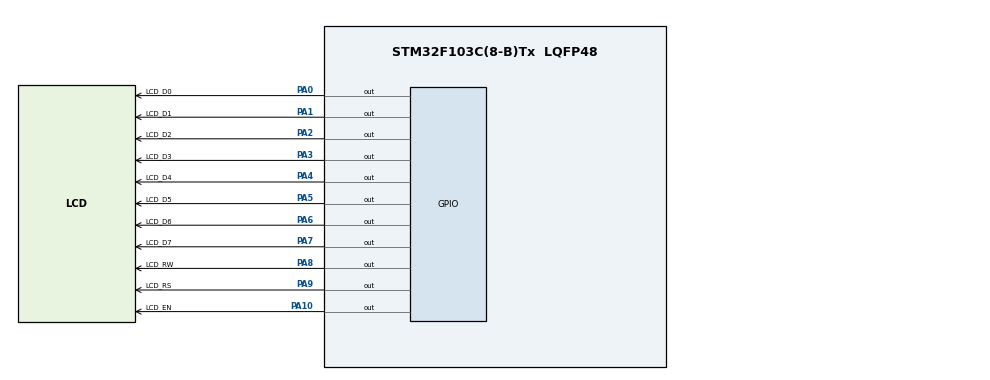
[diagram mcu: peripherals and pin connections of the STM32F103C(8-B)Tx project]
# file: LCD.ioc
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Mcu.Family=STM32F1
Mcu.Name=STM32F103C(8-B)Tx
Mcu.Package=LQFP48
NVIC.PriorityGroup=NVIC_PRIORITYGROUP_4
PA0-WKUP.GPIO_Label=LCD_D0
PA0-WKUP.Signal=GPIO_Output
PA1.GPIO_Label=LCD_D1
PA1.Signal=GPIO_Output
PA10.GPIO_Label=LCD_EN
PA10.Signal=GPIO_Output
PA13.Mode=Serial_Wire
PA13.Signal=SYS_JTMS-SWDIO
PA14.Mode=Serial_Wire
PA14.Signal=SYS_JTCK-SWCLK
PA2.GPIO_Label=LCD_D2
PA2.Signal=GPIO_Output
PA3.GPIO_Label=LCD_D3
PA3.Signal=GPIO_Output
PA4.GPIO_Label=LCD_D4
PA4.Signal=GPIO_Output
PA5.GPIO_Label=LCD_D5
PA5.Signal=GPIO_Output
PA6.GPIO_Label=LCD_D6
PA6.Signal=GPIO_Output
PA7.GPIO_Label=LCD_D7
PA7.Signal=GPIO_Output
PA8.GPIO_Label=LCD_RW
PA8.Signal=GPIO_Output
PA9.GPIO_Label=LCD_RS
PA9.Signal=GPIO_Output
ProjectManager.HeapSize=0x200
ProjectManager.StackSize=0x400
ProjectManager.TargetToolchain=MDK-ARM V5.32
RCC.APB1Freq_Value=8000000
RCC.APB2Freq_Value=8000000
board=custom

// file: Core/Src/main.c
/* USER CODE BEGIN Header */
/**
  ******************************************************************************
  * @file           : main.c
  * @brief          : Main program body
  ******************************************************************************
  * @attention
  *
  * Copyright (c) 2025 STMicroelectronics.
  * All rights reserved.
  *
  * This software is licensed under terms that can be found in the LICENSE file
  * in the root directory of this software component.
  * If no LICENSE file comes with this software, it is provided AS-IS.
  *
  ******************************************************************************
  */
/* USER CODE END Header */
#include "main.h"

/* USER CODE BEGIN Includes */
#include "lcd.h"
/* USER CODE END Includes */

/* USER CODE BEGIN PV */
uint8_t heart[] = {
	0x0A,
	0x1F,
	0x15,
	0x1F,
	0x1F,
	0x0E,
	0x04,
	0x00
};
uint8_t smile[] = {
	0x00,
	0x0A,
	0x00,
	0x00,
	0x11,
	0x0E,
	0x00,
	0x00
};
HardwareInf_t MyLCD;

/* USER CODE END PV */

void SystemClock_Config(void);
static void MX_GPIO_Init(void);

int main(void)
{

  /* MCU Configuration--------------------------------------------------------*/

  /* Reset of all peripherals, Initializes the Flash interface and the Systick. */
  HAL_Init();

  /* Configure the system clock */
  SystemClock_Config();

  /* Initialize all configured peripherals */
  MX_GPIO_Init();
  /* USER CODE BEGIN 2 */
	MyLCD.D0_Port = LCD_D0_GPIO_Port;
	MyLCD.D1_Port = LCD_D1_GPIO_Port;
	MyLCD.D2_Port = LCD_D2_GPIO_Port;
	MyLCD.D3_Port = LCD_D3_GPIO_Port;
	MyLCD.D4_Port = LCD_D4_GPIO_Port;
	MyLCD.D5_Port = LCD_D5_GPIO_Port;
	MyLCD.D6_Port = LCD_D6_GPIO_Port;
	MyLCD.D7_Port = LCD_D7_GPIO_Port;
	MyLCD.EN_Port = LCD_EN_GPIO_Port;
	MyLCD.RS_Port = LCD_RS_GPIO_Port;
	MyLCD.RW_Port = LCD_RW_GPIO_Port;

	MyLCD.D0_Pin = LCD_D0_Pin;
	MyLCD.D1_Pin = LCD_D1_Pin;
	MyLCD.D2_Pin = LCD_D2_Pin;
	MyLCD.D3_Pin = LCD_D3_Pin;
	MyLCD.D4_Pin = LCD_D4_Pin;
	MyLCD.D5_Pin = LCD_D5_Pin;
	MyLCD.D6_Pin = LCD_D6_Pin;
	MyLCD.D7_Pin = LCD_D7_Pin;
	MyLCD.EN_Pin = LCD_EN_Pin;
	MyLCD.RS_Pin = LCD_RS_Pin;
	MyLCD.RW_Pin = LCD_RW_Pin;

	LCD_init(&MyLCD, LCD4bit);
	LCD_CGinit(&MyLCD, heart, 0); // CGRAM
	LCD_gotoXY(&MyLCD, 0, 0);			// DDRAM
	LCD_putchar(&MyLCD, 0);
	LCD_putString(&MyLCD, (uint8_t*)"Phat Luu");
	LCD_putchar(&MyLCD, 0);
  /* USER CODE END 2 */

  /* Infinite loop */
  while (1)
  {

  }
}

void SystemClock_Config(void)
{
  RCC_OscInitTypeDef RCC_OscInitStruct = {0};
  RCC_ClkInitTypeDef RCC_ClkInitStruct = {0};

  /** Initializes the RCC Oscillators according to the specified parameters
  * in the RCC_OscInitTypeDef structure.
  */
  RCC_OscInitStruct.OscillatorType = RCC_OSCILLATORTYPE_HSI;
  RCC_OscInitStruct.HSIState = RCC_HSI_ON;
  RCC_OscInitStruct.HSICalibrationValue = RCC_HSICALIBRATION_DEFAULT;
  RCC_OscInitStruct.PLL.PLLState = RCC_PLL_NONE;
  if (HAL_RCC_OscConfig(&RCC_OscInitStruct) != HAL_OK)
  {
    Error_Handler();
  }

  /** Initializes the CPU, AHB and APB buses clocks
  */
  RCC_ClkInitStruct.ClockType = RCC_CLOCKTYPE_HCLK|RCC_CLOCKTYPE_SYSCLK
                              |RCC_CLOCKTYPE_PCLK1|RCC_CLOCKTYPE_PCLK2;
  RCC_ClkInitStruct.SYSCLKSource = RCC_SYSCLKSOURCE_HSI;
  RCC_ClkInitStruct.AHBCLKDivider = RCC_SYSCLK_DIV1;
  RCC_ClkInitStruct.APB1CLKDivider = RCC_HCLK_DIV1;
  RCC_ClkInitStruct.APB2CLKDivider = RCC_HCLK_DIV1;

  if (HAL_RCC_ClockConfig(&RCC_ClkInitStruct, FLASH_LATENCY_0) != HAL_OK)
  {
    Error_Handler();
  }
}

static void MX_GPIO_Init(void)
{
  GPIO_InitTypeDef GPIO_InitStruct = {0};

  /* GPIO Ports Clock Enable */
  __HAL_RCC_GPIOA_CLK_ENABLE();

  /*Configure GPIO pin Output Level */
  HAL_GPIO_WritePin(GPIOA, LCD_D0_Pin|LCD_D1_Pin|LCD_D2_Pin|LCD_D3_Pin
                          |LCD_D4_Pin|LCD_D5_Pin|LCD_D6_Pin|LCD_D7_Pin
                          |LCD_RW_Pin|LCD_RS_Pin|LCD_EN_Pin, GPIO_PIN_RESET);

  /*Configure GPIO pins : LCD_D0_Pin LCD_D1_Pin LCD_D2_Pin LCD_D3_Pin
                           LCD_D4_Pin LCD_D5_Pin LCD_D6_Pin LCD_D7_Pin
                           LCD_RW_Pin LCD_RS_Pin LCD_EN_Pin */
  GPIO_InitStruct.Pin = LCD_D0_Pin|LCD_D1_Pin|LCD_D2_Pin|LCD_D3_Pin
                          |LCD_D4_Pin|LCD_D5_Pin|LCD_D6_Pin|LCD_D7_Pin
                          |LCD_RW_Pin|LCD_RS_Pin|LCD_EN_Pin;
  GPIO_InitStruct.Mode = GPIO_MODE_OUTPUT_PP;
  GPIO_InitStruct.Pull = GPIO_NOPULL;
  GPIO_InitStruct.Speed = GPIO_SPEED_FREQ_LOW;
  HAL_GPIO_Init(GPIOA, &GPIO_InitStruct);

}

void Error_Handler(void)
{
  __disable_irq();
  while (1)
  {
  }
}
